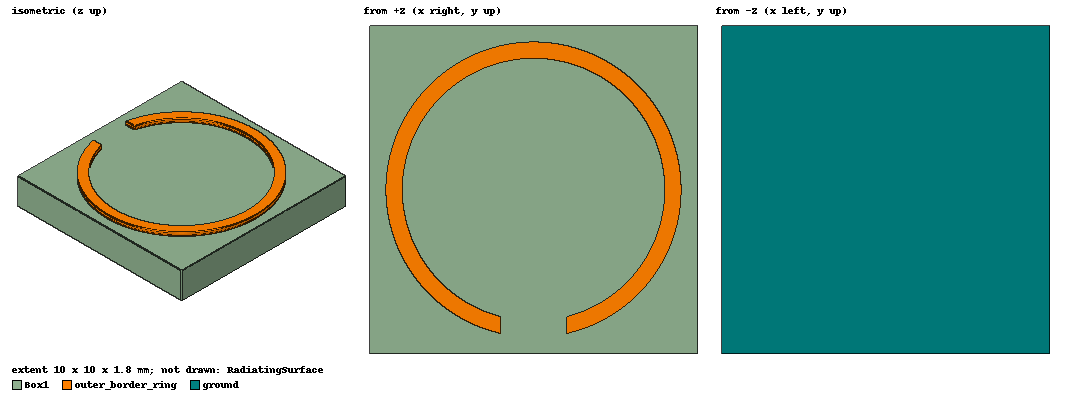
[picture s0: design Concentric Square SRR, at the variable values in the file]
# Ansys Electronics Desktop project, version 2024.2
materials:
  vacuum: permittivity=1
  FR4_epoxy: permittivity=4.4 dielectric_loss_tangent=0.02
  copper: permeability=0.999991 conductivity=58000000

design Concentric Square SRR (HFSS, HFSS Terminal Network, model units mm)
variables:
  SubTh = 1.6mm
  SubX = 10mm
  SubY = 10mm
  rout = 4.5mm
  ringTh = 0.2mm
  rin = 4mm
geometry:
  ground = rectangle(corner=(-SubX/2, -SubY/2, 0mm), x_size=SubX, y_size=SubY)
  Box1 [FR4_epoxy] = box(corner=(-5mm, -5mm, 0mm), size=(10mm, 10mm, SubTh))
  outer_border_ring [copper] = cylinder(axis=Z, base_centre=(0mm, 0mm, SubTh), radius=rout, height=ringTh)
  inner_border_ring = cylinder(axis=Z, base_centre=(0mm, 0mm, SubTh), radius=rin, height=ringTh)
  outer_border_ring.subtract(inner_border_ring)
  split1 = box(corner=(-1mm, -SubY/2, SubTh), size=(2mm, 2mm, ringTh))
  outer_border_ring.subtract(split1)
  RadiatingSurface [vacuum] = region(absolute_offset=20mm on all sides)
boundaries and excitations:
  Open1: Radiation Objects=RadiatingSurface
  PerfE1: Perfect E Faces=RadiatingSurface.face(+x)
  PerfH1: Perfect H Faces=RadiatingSurface.face(+y)
  PerfE2: Perfect E Faces=RadiatingSurface.face(-x)
  PerfH2: Perfect H Faces=RadiatingSurface.face(-y)
  1: Lumped Port Faces=RadiatingSurface.face(+z) LumpedPortType=Modal Modes{Mode1{IntLine{(-25, 25, 21.8) -> (-25, -25, 21.8)} CharImp=Zpi}} Impedance=50ohm
  2: Lumped Port Faces=RadiatingSurface.face(-z) LumpedPortType=Modal Modes{Mode1{IntLine{(-25, 25, -20) -> (-25, -25, -20)} CharImp=Zpi}} Impedance=50ohm
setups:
  Setup1: HfssDriven Frequency=4.5GHz MaxDeltaS=0.02 MaximumPasses=6 MinimumPasses=1 MinimumConvergedPasses=1 PercentRefinement=30 BasisOrder=1 PortAccuracy=2 DrivenSolverType="Direct Solver"
    sweep Sweep: 2.25GHz to 6.75GHz, 401 points; Type=Interpolating SaveFields SaveRadFields InterpTolerance=0.5 InterpMaxSolns=250 PassivityErrorTolerance=0.0001
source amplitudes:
  1:1: 1V 0deg
  2:1: 0V 0deg
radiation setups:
  3D: Infinite Sphere Theta=0deg..180deg step 2deg Phi=-180deg..180deg step 2deg
  Elevation: Infinite Sphere Theta=-180deg..180deg step 1deg Phi=0deg..90deg step 90deg
  Azimuth: Infinite Sphere Theta=90deg..90deg step 0deg Phi=-180deg..180deg step 1deg
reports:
  S Parameter Plot 1: dB(S(1,1)) vs Freq on Setup1 : Sweep; markers m1 at 3.4875GHz
  S Parameter Plot 2: dB(S(2,1)) vs Freq on Setup1 : Sweep; markers m1 at 3.94875GHz
